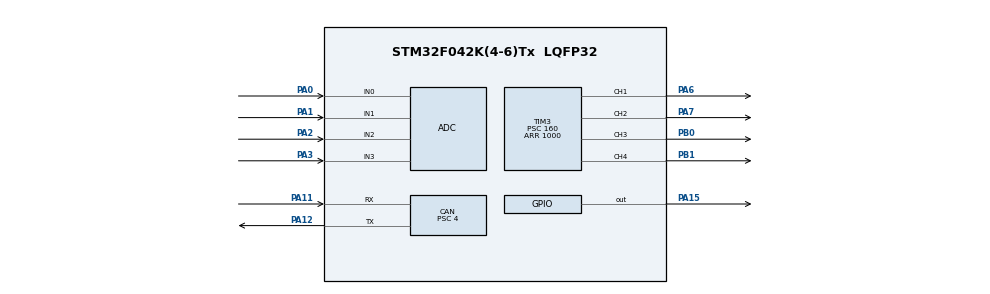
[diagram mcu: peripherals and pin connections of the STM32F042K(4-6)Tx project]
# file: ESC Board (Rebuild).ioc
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CAN.AWUM=ENABLE
CAN.BS1=CAN_BS1_11TQ
CAN.BS2=CAN_BS2_4TQ
CAN.CalculateTimeQuantum=500.0
CAN.Prescaler=4
CAN.SJW=CAN_SJW_4TQ
Mcu.Family=STM32F0
Mcu.Name=STM32F042K(4-6)Tx
Mcu.Package=LQFP32
NVIC.ADC1_IRQn=true\:1\:0\:true\:false\:true\:true
NVIC.CEC_CAN_IRQn=true\:0\:0\:false\:false\:true\:true
PA0.Mode=IN0
PA0.Signal=ADC_IN0
PA1.Mode=IN1
PA1.Signal=ADC_IN1
PA11.Mode=Master
PA11.Signal=CAN_RX
PA12.Mode=Master
PA12.Signal=CAN_TX
PA15.Signal=GPIO_Output
PA2.Mode=IN2
PA2.Signal=ADC_IN2
PA3.Mode=IN3
PA3.Signal=ADC_IN3
PA6.Signal=S_TIM3_CH1
PA7.Signal=S_TIM3_CH2
PB0.Signal=S_TIM3_CH3
PB1.Signal=S_TIM3_CH4
ProjectManager.HeapSize=0x200
ProjectManager.StackSize=0x400
ProjectManager.TargetToolchain=TrueSTUDIO
SH.S_TIM3_CH1.0=TIM3_CH1,PWM Generation1 CH1
SH.S_TIM3_CH2.0=TIM3_CH2,PWM Generation2 CH2
SH.S_TIM3_CH3.0=TIM3_CH3,PWM Generation3 CH3
SH.S_TIM3_CH4.0=TIM3_CH4,PWM Generation4 CH4
TIM3.Channel-PWM\ Generation1\ CH1=TIM_CHANNEL_1
TIM3.Channel-PWM\ Generation2\ CH2=TIM_CHANNEL_2
TIM3.Channel-PWM\ Generation3\ CH3=TIM_CHANNEL_3
TIM3.Channel-PWM\ Generation4\ CH4=TIM_CHANNEL_4
TIM3.Period=1000
TIM3.Prescaler=160
TIM3.Pulse-PWM\ Generation1\ CH1=95
TIM3.Pulse-PWM\ Generation2\ CH2=95
TIM3.Pulse-PWM\ Generation3\ CH3=95
TIM3.Pulse-PWM\ Generation4\ CH4=95
board=custom

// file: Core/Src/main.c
/* USER CODE BEGIN Header */
/**
  ******************************************************************************
  * @file           : main.c
  * @brief          : Main program body
  ******************************************************************************
  ** This notice applies to any and all portions of this file
  * that are not between comment pairs USER CODE BEGIN and
  * USER CODE END. Other portions of this file, whether
  * inserted by the user or by software development tools
  * are owned by their respective copyright owners.
  *
  * COPYRIGHT(c) 2019 STMicroelectronics
  *
  * Redistribution and use in source and binary forms, with or without modification,
  * are permitted provided that the following conditions are met:
  *   1. Redistributions of source code must retain the above copyright notice,
  *      this list of conditions and the following disclaimer.
  *   2. Redistributions in binary form must reproduce the above copyright notice,
  *      this list of conditions and the following disclaimer in the documentation
  *      and/or other materials provided with the distribution.
  *   3. Neither the name of STMicroelectronics nor the names of its contributors
  *      may be used to endorse or promote products derived from this software
  *      without specific prior written permission.
  *
  * THIS SOFTWARE IS PROVIDED BY THE COPYRIGHT HOLDERS AND CONTRIBUTORS "AS IS"
  * AND ANY EXPRESS OR IMPLIED WARRANTIES, INCLUDING, BUT NOT LIMITED TO, THE
  * IMPLIED WARRANTIES OF MERCHANTABILITY AND FITNESS FOR A PARTICULAR PURPOSE ARE
  * DISCLAIMED. IN NO EVENT SHALL THE COPYRIGHT HOLDER OR CONTRIBUTORS BE LIABLE
  * FOR ANY DIRECT, INDIRECT, INCIDENTAL, SPECIAL, EXEMPLARY, OR CONSEQUENTIAL
  * DAMAGES (INCLUDING, BUT NOT LIMITED TO, PROCUREMENT OF SUBSTITUTE GOODS OR
  * SERVICES; LOSS OF USE, DATA, OR PROFITS; OR BUSINESS INTERRUPTION) HOWEVER
  * CAUSED AND ON ANY THEORY OF LIABILITY, WHETHER IN CONTRACT, STRICT LIABILITY,
  * OR TORT (INCLUDING NEGLIGENCE OR OTHERWISE) ARISING IN ANY WAY OUT OF THE USE
  * OF THIS SOFTWARE, EVEN IF ADVISED OF THE POSSIBILITY OF SUCH DAMAGE.
  *
  ******************************************************************************
  */
/* USER CODE END Header */

#include "main.h"

/* USER CODE BEGIN Includes */
  volatile int check_error = 0;
  volatile int check_state = 0;
/* USER CODE END Includes */

/* USER CODE BEGIN PM */
static CanTxMsgTypeDef        TxMessage;
static CanRxMsgTypeDef        RxMessage;
ADC_ChannelConfTypeDef sConfig = {0};
TIM_OC_InitTypeDef sConfigOC = {0};
int ccmr_val;
int adc_count = 0; //counter for storing adc values in array
int adc_val [4] = {0}; //stores the adc values from all 4 adc channels
float MAX_VOLT = 3.3; //maximum voltage value for adc conversion
float WANTED_VOLT = 1.5; //target voltage value for which the current is too high
int spoof_ar [4] = {0, 127, 255, 200}; //a spoof array for testing pwm without CAN
/* USER CODE END PM */

ADC_HandleTypeDef hadc;

CAN_HandleTypeDef hcan;

TIM_HandleTypeDef htim3;

void SystemClock_Config(void);
static void MX_GPIO_Init(void);
static void MX_CAN_Init(void);
static void MX_ADC_Init(void);
static void MX_TIM3_Init(void);

/* USER CODE BEGIN 0 */
static void nano_wait(int t) {
    asm("       mov r0,%0\n"
        "repeat:\n"
        "       sub r0,#14\n"
        "       bgt repeat\n"
        : : "r"(t) : "r0", "cc");
}
/* USER CODE END 0 */

int main(void)
{

  /* MCU Configuration--------------------------------------------------------*/

  /* Reset of all peripherals, Initializes the Flash interface and the Systick. */
  HAL_Init();

  /* Configure the system clock */
  SystemClock_Config();

  /* Initialize all configured peripherals */
  MX_GPIO_Init();
  MX_CAN_Init();
  MX_ADC_Init();
  MX_TIM3_Init();
  /* USER CODE BEGIN 2 */
  HAL_TIM_PWM_Start(&htim3, TIM_CHANNEL_1);
  HAL_TIM_PWM_Start(&htim3, TIM_CHANNEL_2);
  HAL_TIM_PWM_Start(&htim3, TIM_CHANNEL_3);
  HAL_TIM_PWM_Start(&htim3, TIM_CHANNEL_4);
/*
  nano_wait(60000000);
    HAL_GPIO_WritePin(GPIOA, GPIO_PIN_15, GPIO_PIN_RESET);
    TIM3->CCR1 = 95;
    TIM3->CCR2 = 95;
    TIM3->CCR3 = 95;
    TIM3->CCR4 = 95;
*/
    nano_wait(30000000);
    nano_wait(30000000);

    HAL_GPIO_WritePin(GPIOA, GPIO_PIN_15, GPIO_PIN_SET);
    TIM3->CCR1 = 75;
    TIM3->CCR2 = 75;
    TIM3->CCR3 = 75;
    TIM3->CCR4 = 75;

  if (HAL_CAN_Receive_IT(&hcan, CAN_FIFO0) != HAL_OK)
  {
	  Error_Handler();
  }
  HAL_GPIO_WritePin(GPIOA, GPIO_PIN_15, GPIO_PIN_RESET);
  /* USER CODE END 2 */

  /* Infinite loop */
  while (1)
  {
    /* USER CODE BEGIN 3 */
    check_error = HAL_CAN_GetError(&hcan);
	if(check_error != 0)
	{
		__HAL_CAN_RESET_HANDLE_STATE(&hcan);
		  if (HAL_CAN_Receive_IT(&hcan, CAN_FIFO0) != HAL_OK)
		  {
			  Error_Handler();
		  }
		  check_error = 0;
	}
  }
  /* USER CODE END 3 */
}

void SystemClock_Config(void)
{
  RCC_OscInitTypeDef RCC_OscInitStruct = {0};
  RCC_ClkInitTypeDef RCC_ClkInitStruct = {0};

  /**Initializes the CPU, AHB and APB busses clocks
  */
  RCC_OscInitStruct.OscillatorType = RCC_OSCILLATORTYPE_HSI|RCC_OSCILLATORTYPE_HSI14;
  RCC_OscInitStruct.HSIState = RCC_HSI_ON;
  RCC_OscInitStruct.HSI14State = RCC_HSI14_ON;
  RCC_OscInitStruct.HSICalibrationValue = RCC_HSICALIBRATION_DEFAULT;
  RCC_OscInitStruct.HSI14CalibrationValue = 16;
  RCC_OscInitStruct.PLL.PLLState = RCC_PLL_NONE;
  if (HAL_RCC_OscConfig(&RCC_OscInitStruct) != HAL_OK)
  {
    Error_Handler();
  }
  /**Initializes the CPU, AHB and APB busses clocks
  */
  RCC_ClkInitStruct.ClockType = RCC_CLOCKTYPE_HCLK|RCC_CLOCKTYPE_SYSCLK
                              |RCC_CLOCKTYPE_PCLK1;
  RCC_ClkInitStruct.SYSCLKSource = RCC_SYSCLKSOURCE_HSI;
  RCC_ClkInitStruct.AHBCLKDivider = RCC_SYSCLK_DIV1;
  RCC_ClkInitStruct.APB1CLKDivider = RCC_HCLK_DIV1;

  if (HAL_RCC_ClockConfig(&RCC_ClkInitStruct, FLASH_LATENCY_0) != HAL_OK)
  {
    Error_Handler();
  }
}

static void MX_ADC_Init(void)
{

  ADC_ChannelConfTypeDef sConfig = {0};

  /**Configure the global features of the ADC (Clock, Resolution, Data Alignment and number of conversion)
  */
  hadc.Instance = ADC1;
  hadc.Init.ClockPrescaler = ADC_CLOCK_ASYNC_DIV1;
  hadc.Init.Resolution = ADC_RESOLUTION_12B;
  hadc.Init.DataAlign = ADC_DATAALIGN_RIGHT;
  hadc.Init.ScanConvMode = ADC_SCAN_DIRECTION_FORWARD;
  hadc.Init.EOCSelection = ADC_EOC_SINGLE_CONV;
  hadc.Init.LowPowerAutoWait = DISABLE;
  hadc.Init.LowPowerAutoPowerOff = DISABLE;
  hadc.Init.ContinuousConvMode = DISABLE;
  hadc.Init.DiscontinuousConvMode = DISABLE;
  hadc.Init.ExternalTrigConv = ADC_SOFTWARE_START;
  hadc.Init.ExternalTrigConvEdge = ADC_EXTERNALTRIGCONVEDGE_NONE;
  hadc.Init.DMAContinuousRequests = DISABLE;
  hadc.Init.Overrun = ADC_OVR_DATA_PRESERVED;
  if (HAL_ADC_Init(&hadc) != HAL_OK)
  {
    Error_Handler();
  }
  /**Configure for the selected ADC regular channel to be converted.
  */
  sConfig.Channel = ADC_CHANNEL_0;
  sConfig.Rank = ADC_RANK_CHANNEL_NUMBER;
  sConfig.SamplingTime = ADC_SAMPLETIME_1CYCLE_5;
  if (HAL_ADC_ConfigChannel(&hadc, &sConfig) != HAL_OK)
  {
    Error_Handler();
  }
  /**Configure for the selected ADC regular channel to be converted.
  */
  sConfig.Channel = ADC_CHANNEL_1;
  if (HAL_ADC_ConfigChannel(&hadc, &sConfig) != HAL_OK)
  {
    Error_Handler();
  }
  /**Configure for the selected ADC regular channel to be converted.
  */
  sConfig.Channel = ADC_CHANNEL_2;
  if (HAL_ADC_ConfigChannel(&hadc, &sConfig) != HAL_OK)
  {
    Error_Handler();
  }
  /**Configure for the selected ADC regular channel to be converted.
  */
  sConfig.Channel = ADC_CHANNEL_3;
  if (HAL_ADC_ConfigChannel(&hadc, &sConfig) != HAL_OK)
  {
    Error_Handler();
  }

}

static void MX_CAN_Init(void)
{

  /* USER CODE BEGIN CAN_Init 0 */
	CAN_FilterConfTypeDef  sFilterConfig;
  /* USER CODE END CAN_Init 0 */

  hcan.Instance = CAN;
  hcan.Init.Prescaler = 4;
  hcan.Init.Mode = CAN_MODE_NORMAL;
  hcan.Init.SJW = CAN_SJW_4TQ;
  hcan.Init.BS1 = CAN_BS1_11TQ;
  hcan.Init.BS2 = CAN_BS2_4TQ;
  hcan.Init.TTCM = DISABLE;
  hcan.Init.ABOM = DISABLE;
  hcan.Init.AWUM = ENABLE;
  hcan.Init.NART = DISABLE;
  hcan.Init.RFLM = DISABLE;
  hcan.Init.TXFP = DISABLE;
  if (HAL_CAN_Init(&hcan) != HAL_OK)
  {
    Error_Handler();
  }
  /* USER CODE BEGIN CAN_Init 2 */
  hcan.pTxMsg = &TxMessage;
  hcan.pRxMsg = &RxMessage;

   /*##-2- Configure the CAN Filter ###########################################*/
  sFilterConfig.FilterNumber = 0;
  sFilterConfig.FilterMode = CAN_FILTERMODE_IDMASK;
  sFilterConfig.FilterScale = CAN_FILTERSCALE_32BIT;
  sFilterConfig.FilterIdHigh = 0x0000;
  sFilterConfig.FilterIdLow = 0x0000;
  sFilterConfig.FilterMaskIdHigh = 0x0000;
  sFilterConfig.FilterMaskIdLow = 0x0000;
  sFilterConfig.FilterFIFOAssignment = 0;
  sFilterConfig.FilterActivation = ENABLE;
  sFilterConfig.BankNumber = 14;

  if (HAL_CAN_ConfigFilter(&hcan, &sFilterConfig) != HAL_OK)
  {
      Error_Handler();
  }

  hcan.pTxMsg->StdId = 0x200;
  hcan.pTxMsg->ExtId = 0x01;
  hcan.pTxMsg->RTR = CAN_RTR_DATA;
  hcan.pTxMsg->IDE = CAN_ID_STD;
  hcan.pTxMsg->DLC = 1;
  hcan.pTxMsg->Data[0] = 0xFF;
  /* USER CODE END CAN_Init 2 */

}

static void MX_TIM3_Init(void)
{

  TIM_MasterConfigTypeDef sMasterConfig = {0};
  TIM_OC_InitTypeDef sConfigOC = {0};

  htim3.Instance = TIM3;
  htim3.Init.Prescaler = 160;
  htim3.Init.CounterMode = TIM_COUNTERMODE_UP;
  htim3.Init.Period = 1000;
  htim3.Init.ClockDivision = TIM_CLOCKDIVISION_DIV1;
  htim3.Init.AutoReloadPreload = TIM_AUTORELOAD_PRELOAD_DISABLE;
  if (HAL_TIM_PWM_Init(&htim3) != HAL_OK)
  {
    Error_Handler();
  }
  sMasterConfig.MasterOutputTrigger = TIM_TRGO_RESET;
  sMasterConfig.MasterSlaveMode = TIM_MASTERSLAVEMODE_DISABLE;
  if (HAL_TIMEx_MasterConfigSynchronization(&htim3, &sMasterConfig) != HAL_OK)
  {
    Error_Handler();
  }
  sConfigOC.OCMode = TIM_OCMODE_PWM1;
  sConfigOC.Pulse = 0;
  sConfigOC.OCPolarity = TIM_OCPOLARITY_HIGH;
  sConfigOC.OCFastMode = TIM_OCFAST_DISABLE;
  if (HAL_TIM_PWM_ConfigChannel(&htim3, &sConfigOC, TIM_CHANNEL_1) != HAL_OK)
  {
    Error_Handler();
  }
  if (HAL_TIM_PWM_ConfigChannel(&htim3, &sConfigOC, TIM_CHANNEL_2) != HAL_OK)
  {
    Error_Handler();
  }
  if (HAL_TIM_PWM_ConfigChannel(&htim3, &sConfigOC, TIM_CHANNEL_3) != HAL_OK)
  {
    Error_Handler();
  }
  if (HAL_TIM_PWM_ConfigChannel(&htim3, &sConfigOC, TIM_CHANNEL_4) != HAL_OK)
  {
    Error_Handler();
  }
  HAL_TIM_MspPostInit(&htim3);

}

static void MX_GPIO_Init(void)
{
  GPIO_InitTypeDef GPIO_InitStruct = {0};

  /* GPIO Ports Clock Enable */
  __HAL_RCC_GPIOA_CLK_ENABLE();
  __HAL_RCC_GPIOB_CLK_ENABLE();

  /*Configure GPIO pin Output Level */
  HAL_GPIO_WritePin(GPIOA, GPIO_PIN_15, GPIO_PIN_RESET);

  /*Configure GPIO pin : PA15 */
  GPIO_InitStruct.Pin = GPIO_PIN_15;
  GPIO_InitStruct.Mode = GPIO_MODE_OUTPUT_PP;
  GPIO_InitStruct.Pull = GPIO_NOPULL;
  GPIO_InitStruct.Speed = GPIO_SPEED_FREQ_LOW;
  HAL_GPIO_Init(GPIOA, &GPIO_InitStruct);

}

/* USER CODE BEGIN 4 */
int byte_to_pwm(int byte)
{
	float exact;
	exact = byte * (40.0/255.0) + 55.0;
	return (exact + 0.5); //rounds up the integer by adding 0.5
}

void HAL_CAN_RxCpltCallback(CAN_HandleTypeDef* hcan)
{
	HAL_GPIO_WritePin(GPIOA, GPIO_PIN_15, GPIO_PIN_SET);
	//If ID is correct and the amount of data being sent is four bytes, converts that data into PWM signals
	if((hcan->pRxMsg->StdId == 0x202))
	{
		TIM3->CCR1 = byte_to_pwm((int)hcan->pRxMsg->Data[7]); //U7
		TIM3->CCR2 = byte_to_pwm((int)hcan->pRxMsg->Data[6]); //U2
		TIM3->CCR3 = byte_to_pwm((int)hcan->pRxMsg->Data[5]); //U1
		TIM3->CCR4 = byte_to_pwm((int)hcan->pRxMsg->Data[4]); //U3
	}
  //necessary portion that restarts the CAN receiving
	if (HAL_CAN_Receive_IT(hcan, CAN_FIFO0) != HAL_OK)
	{
		Error_Handler();
	}
}

//a function that was used to test the PWM signals without the use of CAN
void CAN_Spoof(int* spoof_ar)
{
	TIM3->CCR1 = byte_to_pwm(0); //U7
	TIM3->CCR2 = byte_to_pwm(127); //U2
	TIM3->CCR3 = byte_to_pwm(255); //U1
	TIM3->CCR4 = byte_to_pwm(200); //U3
  //necessary portion
}

void  HAL_ADC_ConvCpltCallback(ADC_HandleTypeDef* hadc) //is called on each end of conversion for a single adc channel
{
	adc_val[adc_count] = HAL_ADC_GetValue(hadc); //stores the current conversion in the corresponding spot in adc_val
	//the code that would be used to check when the current is too high
	/*
	if(adc_val[adc_count] > (4095 * (WANTED_VOLT/MAX_VOLT)))
	{
		Error_Handler();
	}
    */
	//keeps track of the current adc conversion and restarts at end of sequence
	if(adc_count > 2)
	{
		adc_count = 0;
		HAL_ADC_Start_IT(hadc);
	}
	else
	{
		adc_count++;
	}
}
/* USER CODE END 4 */

void Error_Handler(void)
{
  /* USER CODE BEGIN Error_Handler_Debug */
  /* User can add his own implementation to report the HAL error return state */
	HAL_TIM_PWM_Stop(&htim3, TIM_CHANNEL_1);
	HAL_TIM_PWM_Stop(&htim3, TIM_CHANNEL_2);
	HAL_TIM_PWM_Stop(&htim3, TIM_CHANNEL_3);
	HAL_TIM_PWM_Stop(&htim3, TIM_CHANNEL_4);
	HAL_ADC_Stop_IT(&hadc);

	while(1)
	{
	    HAL_GPIO_TogglePin(GPIOA, GPIO_PIN_15);
	    nano_wait(10000000);
	}
  /* USER CODE END Error_Handler_Debug */
}

/************************ (C) COPYRIGHT STMicroelectronics *****END OF FILE****/
